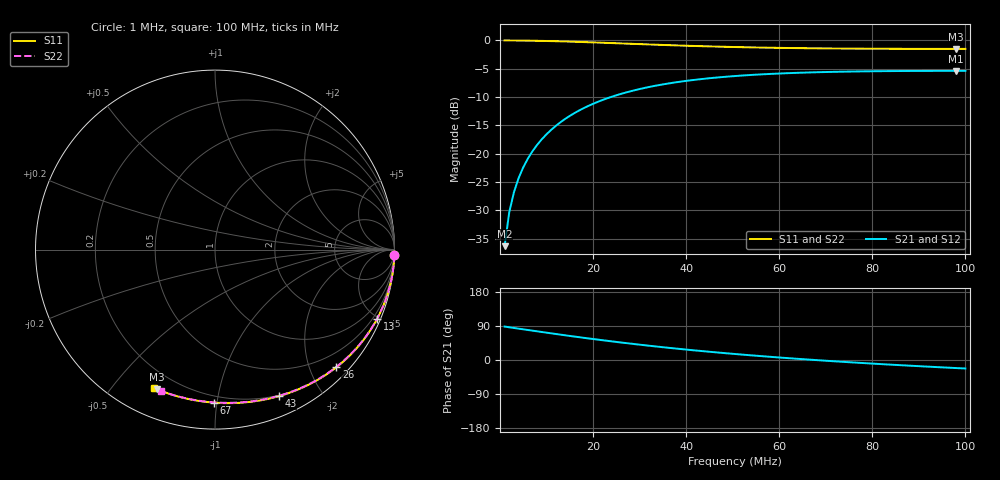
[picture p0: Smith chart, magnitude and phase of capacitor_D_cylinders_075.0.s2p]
!Created with skrf (http://scikit-rf.org).
# MHz S RI R 50.0
!freq ReS11 ImS11 ReS21 ImS21 ReS12 ImS12 ReS22 ImS22
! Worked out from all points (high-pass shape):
!   100 points, 1 MHz to 100 MHz, reference 50 ohm
!   highest |S21| = -5.38 dB at 98 MHz (marker M1); lowest = -36.4 dB at 1 MHz (marker M2)
!   |S21| within 3 dB of the highest: 31.17 MHz to end of sweep
!   lowest |S11| = -1.5 dB at 98 MHz (marker M3), VSWR 11.70, Z = 6.15 - j33 ohm
!   |S11| at or under -10 dB: nowhere
!   |S22| runs from -1.5 to 0.0 dB; largest |S21 - S12| = 2.2e-15
!   S11 on the Smith chart (normalised r, x): 1 MHz: 0, -63; 13 MHz: 0.22, -4.86; 26 MHz: 0.21, -2.45; 43 MHz: 0.19, -1.51; 67 MHz: 0.16, -0.98; 100 MHz: 0.12, -0.64
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1  0.9994 -0.0318  0.000481 0.0152  0.000481 0.0152  0.9994 -0.0314
! Port Impedance 50.00000000000000 0.00000000000000 50.00000000000000 0.00000000000000
2  0.9975 -0.0635  0.00192 0.0303  0.00192 0.0303  0.9976 -0.0627
3  0.9944 -0.0951  0.00431 0.0453  0.00431 0.0453  0.9945 -0.0939
4  0.9901 -0.1264  0.00763 0.0601  0.00763 0.0601  0.9903 -0.1249
5  0.9846 -0.1574  0.0119 0.0746  0.0119 0.0746  0.9849 -0.1555
6  0.978 -0.1881  0.017 0.0888  0.017 0.0888  0.9784 -0.1858
8  0.9613 -0.248  0.0297 0.1159  0.0297 0.1159  0.9621 -0.2451
10  0.9405 -0.3057  0.0455 0.141  0.0455 0.141  0.9417 -0.3021
13  0.9024 -0.3871  0.0742 0.1741  0.0742 0.1741  0.9043 -0.3827
15  0.873 -0.4376  0.096 0.1928  0.096 0.1928  0.8755 -0.4326
18  0.8241 -0.5071  0.1315 0.2154  0.1315 0.2154  0.8276 -0.5015
22  0.7524 -0.5878  0.1821 0.2351  0.1821 0.2351  0.7573 -0.5815
26  0.6763 -0.6549  0.2334 0.2434  0.2334 0.2434  0.6828 -0.6481
30  0.5986 -0.7094  0.2829 0.2415  0.2829 0.2415  0.6067 -0.7025
34  0.5213 -0.7527  0.3291 0.2311  0.3291 0.2311  0.5312 -0.7458
43  0.3556 -0.8167  0.4151 0.1849  0.4151 0.1849  0.3694 -0.8106
51  0.2222 -0.845  0.4691 0.1285  0.4691 0.1285  0.2394 -0.8403
59  0.1026 -0.8552  0.5037 0.0667  0.5037 0.0667  0.1233 -0.8524
67  -0.00405 -0.8528  0.5222 0.00489  0.5222 0.00489  0.02 -0.8526
84  -0.1952 -0.8212  0.5239 -0.1141  0.5239 -0.1141  -0.164 -0.828
98  -0.3238 -0.7779  0.502 -0.1951  0.502 -0.1951  -0.2866 -0.7923
100  -0.3403 -0.7708  0.4978 -0.2054  0.4978 -0.2054  -0.3023 -0.7865
